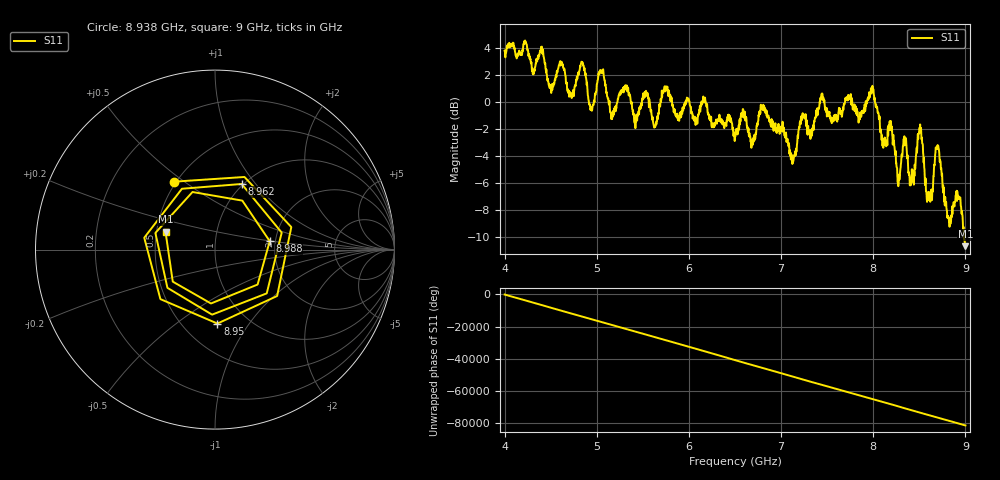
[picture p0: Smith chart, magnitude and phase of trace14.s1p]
! Created with skrf 1.8.0 (http://scikit-rf.org).
# Hz S RI R 50.0
!freq ReS11 ImS11
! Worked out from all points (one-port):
!   1601 points, 4 GHz to 9 GHz, reference 50 ohm
!   lowest |S11| = -10.7 dB at 9 GHz (marker M1), VSWR 1.83, Z = 27.9 + j6.06 ohm
!   |S11| at or under -10 dB: 8.983633 GHz to end of sweep
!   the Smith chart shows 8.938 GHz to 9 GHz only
!   S11 on the Smith chart (normalised r, x): 8.938 GHz: 0.49, +0.46; 8.95 GHz: 0.73, -0.72; 8.962 GHz: 0.98, +0.85; 8.988 GHz: 1.86, +0.19; 9 GHz: 0.56, +0.12
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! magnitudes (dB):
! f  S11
! 4 GHz  3.8
! 4.503 GHz  0.8
! 4.625 GHz  2.8
! 4.725 GHz  0.4
! 4.844 GHz  2.9
! 4.941 GHz  -0.5
! 5.044 GHz  2.2
! 5.162 GHz  -0.9
! 5.25 GHz  0.6
! 5.875 GHz  -1.2
! 6.5 GHz  -2.4
! 6.803 GHz  -0.4
! 7.125 GHz  -4.6
! 7.241 GHz  -0.9
! 7.75 GHz  0.3
! 7.991 GHz  1.2
! 8.272 GHz  -6.2
! 8.375 GHz  -4.2
! 8.422 GHz  -5.8
! 8.506 GHz  -2.2
! 8.597 GHz  -6.7
! 8.694 GHz  -3.5
! 8.819 GHz  -8.6
! 8.938 GHz  -7.1
! 8.95 GHz  -7.7
! 8.962 GHz  -8.1
! 8.988 GHz  -10.2
! 9 GHz  -10.7
